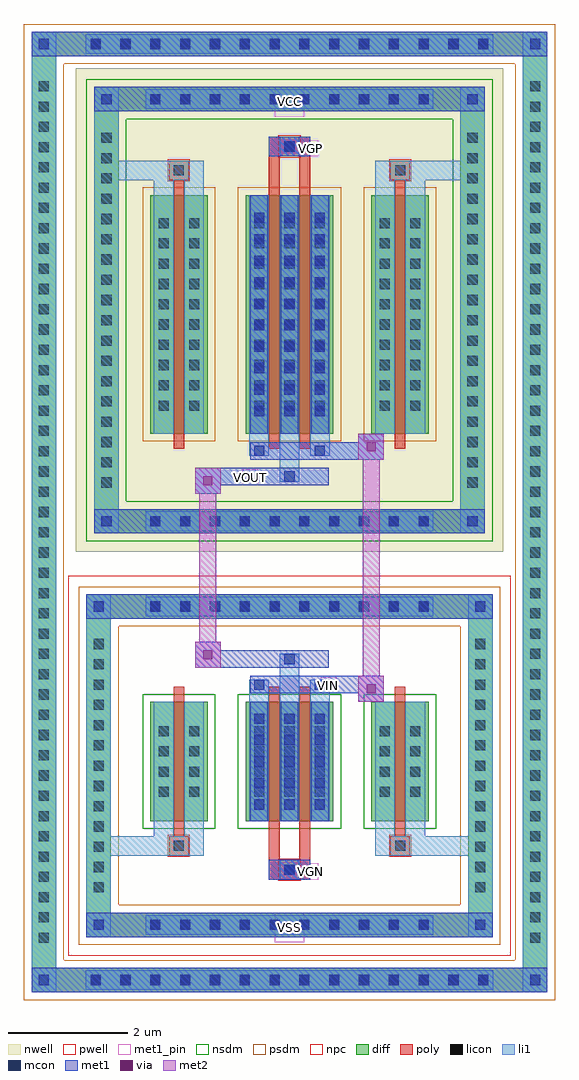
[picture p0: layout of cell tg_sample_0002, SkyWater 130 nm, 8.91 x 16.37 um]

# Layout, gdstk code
import gdstk
lib = gdstk.Library(unit=1e-6, precision=5e-09)
def R(c, l, rs):  # rectangles x0, y0, x1, y1
    for r in rs: c.add(gdstk.rectangle(r[:2], r[2:], *l))
def A(c, l, x, y, w, h, nx, ny, dx, dy):  # array of equal rectangles
    R(c, l, [(x+i*dx, y+j*dy, x+i*dx+w, y+j*dy+h) for i in range(nx) for j in range(ny)])
def P(c, l, *ps):  # polygons
    for p in ps: c.add(gdstk.Polygon(p, *l))
nwell = (64, 20)
pwell = (64, 44)
diff = (65, 20)
poly = (66, 20)
licon = (66, 44)
li1 = (67, 20)
mcon = (67, 44)
met1_pin = (68, 16)
met1 = (68, 20)
via = (68, 44)
met2 = (69, 20)
nsdm = (93, 44)
psdm = (94, 20)
npc = (95, 20)

tg_sample_0002 = lib.new_cell('tg_sample_0002')
R(tg_sample_0002, nwell, [(-3.585,3.585,3.585,11.695)])
R(tg_sample_0002, pwell, [(-3.715,-3.185,3.715,3.185)])
A(tg_sample_0002, diff, -3.455, -3.8, 0.41, 0.41, 14, 2, 0.5, 15.7)
A(tg_sample_0002, diff, -4.325, -3.09, 0.41, 0.41, 1, 43, 0, 0.34)
A(tg_sample_0002, diff, 3.915, -3.09, 0.41, 0.41, 1, 43, 0, 0.34)
A(tg_sample_0002, diff, -2.455, -2.875, 0.41, 0.41, 10, 2, 0.5, 5.34)
A(tg_sample_0002, diff, -3.405, -2.245, 0.41, 0.41, 1, 13, 0, 0.34)
A(tg_sample_0002, diff, 2.995, -2.245, 0.41, 0.41, 1, 13, 0, 0.34)
A(tg_sample_0002, diff, -2.455, 3.895, 0.41, 0.41, 10, 2, 0.5, 7.08)
A(tg_sample_0002, diff, -3.275, 4.545, 0.41, 0.41, 1, 18, 0, 0.34)
A(tg_sample_0002, diff, 2.865, 4.545, 0.41, 0.41, 1, 18, 0, 0.34)
R(tg_sample_0002, diff, [(-3.455,-3.8,3.455,-3.39), (-4.325,-3.09,-3.915,11.6), (3.915,-3.09,4.325,11.6), (-2.455,-2.875,2.455,-2.465), (-3.405,-2.245,-2.995,2.245), (2.995,-2.245,3.405,2.245), (-2.335,-0.93,-1.375,1.07), (-0.735,-0.93,0.735,1.07), (1.375,-0.93,2.335,1.07), (-2.455,2.465,2.455,2.875), (-2.455,3.895,2.455,4.305), (-3.275,4.545,-2.865,10.735), (2.865,4.545,3.275,10.735), (-2.335,5.57,-1.375,9.57), (-0.735,5.57,0.735,9.57), (1.375,5.57,2.335,9.57), (-2.455,10.975,2.455,11.385), (-3.455,11.9,3.455,12.31)])
P(tg_sample_0002, diff, [(3.405,2.875),(-3.405,2.875),(-3.405,-2.465),(-2.995,-2.465),(-2.995,2.465),(2.995,2.465),(2.995,-2.465),(-2.995,-2.465),(-3.405,-2.465),(-3.405,-2.875),(3.405,-2.875)],
  [(4.325,12.31),(-4.325,12.31),(-4.325,-3.39),(-3.915,-3.39),(-3.915,11.9),(3.915,11.9),(3.915,-3.39),(-3.915,-3.39),(-4.325,-3.39),(-4.325,-3.8),(4.325,-3.8)],
  [(3.275,3.895),(-3.275,3.895),(-3.275,10.975),(-2.865,10.975),(-2.865,4.305),(2.865,4.305),(2.865,10.975),(-2.865,10.975),(-3.275,10.975),(-3.275,11.385),(3.275,11.385)])
R(tg_sample_0002, poly, [(-0.345,-1.91,0.345,-1.58), (-0.165,-1.91,0.165,-1.58), (-0.345,-1.58,-0.165,-1.18), (0.165,-1.58,0.345,-1.18), (-2.02,-1.51,-1.69,-1.18), (-2.02,-1.51,-1.69,-1.18), (1.69,-1.51,2.02,-1.18), (1.69,-1.51,2.02,-1.18), (-1.945,-1.18,-1.765,1.32), (-0.345,-1.18,-0.165,1.32), (0.165,-1.18,0.345,1.32), (1.765,-1.18,1.945,1.32), (-1.945,5.32,-1.765,9.82), (-0.345,5.32,-0.165,9.82), (0.165,5.32,0.345,9.82), (1.765,5.32,1.945,9.82), (-2.02,9.82,-1.69,10.15), (-2.02,9.82,-1.69,10.15), (-0.345,9.82,-0.165,10.22), (0.165,9.82,0.345,10.22), (1.69,9.82,2.02,10.15), (1.69,9.82,2.02,10.15), (-0.345,10.22,0.345,10.55), (-0.165,10.22,0.165,10.55)])
A(tg_sample_0002, licon, -3.335, -3.68, 0.17, 0.17, 14, 2, 0.5, 15.7)
A(tg_sample_0002, licon, -4.205, -2.97, 0.17, 0.17, 1, 43, 0, 0.34)
A(tg_sample_0002, licon, 4.035, -2.97, 0.17, 0.17, 1, 43, 0, 0.34)
A(tg_sample_0002, licon, -2.335, -2.755, 0.17, 0.17, 10, 2, 0.5, 5.34)
A(tg_sample_0002, licon, -3.285, -2.125, 0.17, 0.17, 1, 13, 0, 0.34)
A(tg_sample_0002, licon, 3.115, -2.125, 0.17, 0.17, 1, 13, 0, 0.34)
A(tg_sample_0002, licon, -2.195, -0.525, 0.17, 0.17, 1, 4, 0, 0.34)
A(tg_sample_0002, licon, -1.685, -0.525, 0.17, 0.17, 1, 4, 0, 0.34)
A(tg_sample_0002, licon, -0.595, -0.525, 0.17, 0.17, 3, 4, 0.51, 0.34)
A(tg_sample_0002, licon, 1.515, -0.525, 0.17, 0.17, 1, 4, 0, 0.34)
A(tg_sample_0002, licon, 2.025, -0.525, 0.17, 0.17, 1, 4, 0, 0.34)
A(tg_sample_0002, licon, -2.335, 4.015, 0.17, 0.17, 10, 2, 0.5, 7.08)
A(tg_sample_0002, licon, -3.155, 4.665, 0.17, 0.17, 1, 18, 0, 0.34)
A(tg_sample_0002, licon, 2.985, 4.665, 0.17, 0.17, 1, 18, 0, 0.34)
A(tg_sample_0002, licon, -2.195, 5.955, 0.17, 0.17, 1, 10, 0, 0.34)
A(tg_sample_0002, licon, -1.685, 5.955, 0.17, 0.17, 1, 10, 0, 0.34)
A(tg_sample_0002, licon, -0.595, 5.955, 0.17, 0.17, 3, 10, 0.51, 0.34)
A(tg_sample_0002, licon, 1.515, 5.955, 0.17, 0.17, 1, 10, 0, 0.34)
A(tg_sample_0002, licon, 2.025, 5.955, 0.17, 0.17, 1, 10, 0, 0.34)
R(tg_sample_0002, licon, [(-0.085,-1.83,0.085,-1.66), (-1.94,-1.43,-1.77,-1.26), (1.77,-1.43,1.94,-1.26), (-1.94,9.9,-1.77,10.07), (1.77,9.9,1.94,10.07), (-0.085,10.3,0.085,10.47)])
A(tg_sample_0002, li1, -3.415, -3.76, 0.33, 0.33, 14, 2, 0.5, 15.7)
A(tg_sample_0002, li1, -4.285, -3.05, 0.33, 0.33, 1, 43, 0, 0.34)
A(tg_sample_0002, li1, 3.955, -3.05, 0.33, 0.33, 1, 43, 0, 0.34)
A(tg_sample_0002, li1, -2.415, -2.835, 0.33, 0.33, 10, 2, 0.5, 5.34)
A(tg_sample_0002, li1, -3.365, -2.205, 0.33, 0.33, 1, 13, 0, 0.34)
A(tg_sample_0002, li1, 3.035, -2.205, 0.33, 0.33, 1, 13, 0, 0.34)
A(tg_sample_0002, li1, -0.675, -0.93, 0.33, 2, 3, 1, 0.51, 0)
A(tg_sample_0002, li1, -0.595, -0.735, 0.17, 0.17, 3, 5, 0.51, 0.36)
A(tg_sample_0002, li1, -0.595, -0.735, 0.17, 1.61, 3, 1, 0.51, 0)
A(tg_sample_0002, li1, -2.275, -0.605, 0.33, 0.33, 1, 4, 0, 0.34)
A(tg_sample_0002, li1, -1.765, -0.605, 0.33, 0.33, 1, 4, 0, 0.34)
A(tg_sample_0002, li1, -0.675, -0.605, 0.33, 0.33, 3, 4, 0.51, 0.34)
A(tg_sample_0002, li1, 1.435, -0.605, 0.33, 0.33, 1, 4, 0, 0.34)
A(tg_sample_0002, li1, 1.945, -0.605, 0.33, 0.33, 1, 4, 0, 0.34)
A(tg_sample_0002, li1, -2.415, 3.935, 0.33, 0.33, 10, 2, 0.5, 7.08)
A(tg_sample_0002, li1, -3.235, 4.585, 0.33, 0.33, 1, 18, 0, 0.34)
A(tg_sample_0002, li1, 2.905, 4.585, 0.33, 0.33, 1, 18, 0, 0.34)
A(tg_sample_0002, li1, -0.675, 5.57, 0.33, 4, 3, 1, 0.51, 0)
A(tg_sample_0002, li1, -0.595, 5.865, 0.17, 0.17, 3, 10, 0.51, 0.36)
A(tg_sample_0002, li1, -0.595, 5.865, 0.17, 3.41, 3, 1, 0.51, 0)
A(tg_sample_0002, li1, -2.275, 5.875, 0.33, 0.33, 1, 10, 0, 0.34)
A(tg_sample_0002, li1, -1.765, 5.875, 0.33, 0.33, 1, 10, 0, 0.34)
A(tg_sample_0002, li1, -0.675, 5.875, 0.33, 0.33, 3, 10, 0.51, 0.34)
A(tg_sample_0002, li1, 1.435, 5.875, 0.33, 0.33, 1, 10, 0, 0.34)
A(tg_sample_0002, li1, 1.945, 5.875, 0.33, 0.33, 1, 10, 0, 0.34)
R(tg_sample_0002, li1, [(-4.325,-3.8,-3.915,-3.39), (3.915,-3.8,4.325,-3.39), (-3.415,-3.76,3.415,-3.43), (-4.205,-3.68,-4.035,-3.51), (-4.205,-3.68,-4.035,-3.51), (4.035,-3.68,4.205,-3.51), (4.035,-3.68,4.205,-3.51), (-4.325,-3.39,-3.915,11.9), (3.915,-3.39,4.325,11.9), (-3.405,-2.875,-2.995,-2.465), (2.995,-2.875,3.405,-2.465), (-2.415,-2.835,2.415,-2.505), (-3.285,-2.755,-3.115,-2.585), (-3.285,-2.755,-3.115,-2.585), (3.115,-2.755,3.285,-2.585), (3.115,-2.755,3.285,-2.585), (-3.405,-2.465,-2.995,2.465), (2.995,-2.465,3.405,2.465), (-0.165,-1.91,0.165,-1.58), (-3.405,-1.51,-2.02,-1.18), (-2.275,-1.51,-2.02,-1.18), (-2.275,-1.51,-1.945,-0.93), (-2.02,-1.51,-1.69,-1.18), (-1.765,-1.51,-1.435,-0.93), (-1.69,-1.51,-1.435,-1.18), (1.435,-1.51,1.69,-1.18), (1.435,-1.51,1.765,-0.93), (1.69,-1.51,2.02,-1.18), (1.69,-1.51,3.405,-1.18), (1.945,-1.51,2.275,-0.93), (2.02,-1.51,2.275,-1.18), (-2.275,-0.93,-1.945,1.07), (-1.765,-0.93,-1.435,1.07), (1.435,-0.93,1.765,1.07), (1.945,-0.93,2.275,1.07), (-0.675,1.07,-0.345,1.445), (-0.165,1.07,0.165,1.875), (0.345,1.07,0.675,1.445), (-0.595,1.275,-0.425,1.445), (0.425,1.275,0.595,1.445), (-0.085,1.705,0.085,1.875), (-3.405,2.465,-2.995,2.875), (2.995,2.465,3.405,2.875), (-2.415,2.505,2.415,2.835), (-3.285,2.585,-3.115,2.755), (-3.285,2.585,-3.115,2.755), (3.115,2.585,3.285,2.755), (3.115,2.585,3.285,2.755), (-3.275,3.895,-2.865,4.305), (2.865,3.895,3.275,4.305), (-2.415,3.935,2.415,4.265), (-3.155,4.015,-2.985,4.185), (-3.155,4.015,-2.985,4.185), (2.985,4.015,3.155,4.185), (2.985,4.015,3.155,4.185), (-3.275,4.305,-2.865,10.975), (2.865,4.305,3.275,10.975), (-0.165,4.765,0.165,5.57), (-0.085,4.765,0.085,4.935), (-0.675,5.195,-0.345,5.57), (-0.595,5.195,-0.425,5.365), (0.345,5.195,0.675,5.57), (0.425,5.195,0.595,5.365), (-2.275,5.57,-1.945,9.57), (-1.765,5.57,-1.435,9.57), (1.435,5.57,1.765,9.57), (1.945,5.57,2.275,9.57), (-2.275,9.57,-1.945,10.15), (-1.765,9.57,-1.435,10.15), (1.435,9.57,1.765,10.15), (1.945,9.57,2.275,10.15), (-3.275,9.82,-2.02,10.15), (-2.275,9.82,-2.02,10.15), (-2.02,9.82,-1.69,10.15), (-1.69,9.82,-1.435,10.15), (1.435,9.82,1.69,10.15), (1.69,9.82,2.02,10.15), (1.69,9.82,3.275,10.15), (2.02,9.82,2.275,10.15), (-0.165,10.22,0.165,10.55), (-3.275,10.975,-2.865,11.385), (2.865,10.975,3.275,11.385), (-2.415,11.015,2.415,11.345), (-3.155,11.095,-2.985,11.265), (-3.155,11.095,-2.985,11.265), (2.985,11.095,3.155,11.265), (2.985,11.095,3.155,11.265), (-4.325,11.9,-3.915,12.31), (3.915,11.9,4.325,12.31), (-3.415,11.94,3.415,12.27), (-4.205,12.02,-4.035,12.19), (-4.205,12.02,-4.035,12.19), (4.035,12.02,4.205,12.19), (4.035,12.02,4.205,12.19)])
A(tg_sample_0002, mcon, -3.335, -3.68, 0.17, 0.17, 14, 2, 0.5, 15.7)
A(tg_sample_0002, mcon, -2.335, -2.755, 0.17, 0.17, 10, 2, 0.5, 5.34)
A(tg_sample_0002, mcon, -0.595, -0.735, 0.17, 0.17, 3, 5, 0.51, 0.36)
A(tg_sample_0002, mcon, -2.335, 4.015, 0.17, 0.17, 10, 2, 0.5, 7.08)
A(tg_sample_0002, mcon, -0.595, 5.865, 0.17, 0.17, 3, 10, 0.51, 0.36)
R(tg_sample_0002, mcon, [(-4.205,-3.68,-4.035,-3.51), (4.035,-3.68,4.205,-3.51), (-3.285,-2.755,-3.115,-2.585), (3.115,-2.755,3.285,-2.585), (-0.085,-1.83,0.085,-1.66), (-0.595,1.275,-0.425,1.445), (0.425,1.275,0.595,1.445), (-0.085,1.705,0.085,1.875), (-3.285,2.585,-3.115,2.755), (3.115,2.585,3.285,2.755), (-3.155,4.015,-2.985,4.185), (2.985,4.015,3.155,4.185), (-0.085,4.765,0.085,4.935), (-0.595,5.195,-0.425,5.365), (0.425,5.195,0.595,5.365), (-0.085,10.3,0.085,10.47), (-3.155,11.095,-2.985,11.265), (2.985,11.095,3.155,11.265), (-4.205,12.02,-4.035,12.19), (4.035,12.02,4.205,12.19)])
R(tg_sample_0002, met1_pin, [(-0.25,-2.965,0.25,-2.465), (0.21,-1.91,0.48,-1.64), (0.52,1.215,0.79,1.485), (-0.79,4.705,-0.52,4.975), (0.21,10.22,0.48,10.49), (-0.25,10.885,0.25,11.385)])
A(tg_sample_0002, met1, -3.395, -3.74, 0.29, 0.29, 14, 2, 0.5, 15.7)
A(tg_sample_0002, met1, -2.395, -2.815, 0.29, 0.29, 10, 2, 0.5, 5.34)
A(tg_sample_0002, met1, -0.655, -0.93, 0.29, 2, 3, 1, 0.51, 0)
A(tg_sample_0002, met1, -0.655, -0.795, 0.29, 0.29, 3, 5, 0.51, 0.36)
A(tg_sample_0002, met1, -2.395, 3.955, 0.29, 0.29, 10, 2, 0.5, 7.08)
A(tg_sample_0002, met1, -0.655, 5.57, 0.29, 4, 3, 1, 0.51, 0)
A(tg_sample_0002, met1, -0.655, 5.805, 0.29, 0.29, 3, 10, 0.51, 0.36)
R(tg_sample_0002, met1, [(-4.325,-3.8,-3.915,-3.39), (-4.325,-3.8,-3.915,-3.39), (-3.915,-3.8,3.915,-3.39), (3.915,-3.8,4.325,-3.39), (3.915,-3.8,4.325,-3.39), (-4.265,-3.74,-3.975,-3.45), (3.975,-3.74,4.265,-3.45), (-3.405,-2.875,-2.995,-2.465), (-3.405,-2.875,-2.995,-2.465), (-2.995,-2.875,2.995,-2.465), (2.995,-2.875,3.405,-2.465), (2.995,-2.875,3.405,-2.465), (-3.345,-2.815,-3.055,-2.525), (3.055,-2.815,3.345,-2.525), (-0.345,-1.91,0.345,-1.58), (-0.145,-1.89,0.145,-1.6), (1.155,1.075,1.585,1.505), (-0.655,1.215,-0.365,1.505), (-0.655,1.215,0.655,1.505), (0.365,1.215,0.655,1.505), (0.655,1.215,1.585,1.505), (-1.585,1.645,-0.655,1.935), (-1.585,1.645,-1.155,2.075), (-0.655,1.645,0.655,1.935), (-0.145,1.645,0.145,1.935), (-3.405,2.465,-2.995,2.875), (-3.405,2.465,-2.995,2.875), (-2.995,2.465,2.995,2.875), (2.995,2.465,3.405,2.875), (2.995,2.465,3.405,2.875), (-3.345,2.525,-3.055,2.815), (3.055,2.525,3.345,2.815), (-3.275,3.895,-2.865,4.305), (-3.275,3.895,-2.865,4.305), (-2.865,3.895,2.865,4.305), (2.865,3.895,3.275,4.305), (2.865,3.895,3.275,4.305), (-3.215,3.955,-2.925,4.245), (2.925,3.955,3.215,4.245), (-1.585,4.565,-1.155,4.995), (-1.585,4.705,-0.655,4.995), (-0.655,4.705,0.655,4.995), (-0.145,4.705,0.145,4.995), (-0.655,5.135,-0.365,5.425), (-0.655,5.135,0.655,5.425), (0.365,5.135,0.655,5.425), (0.655,5.135,1.585,5.425), (1.155,5.135,1.585,5.565), (-0.345,10.22,0.345,10.55), (-0.145,10.24,0.145,10.53), (-3.275,10.975,-2.865,11.385), (-3.275,10.975,-2.865,11.385), (-2.865,10.975,2.865,11.385), (2.865,10.975,3.275,11.385), (2.865,10.975,3.275,11.385), (-3.215,11.035,-2.925,11.325), (2.925,11.035,3.215,11.325), (-4.325,11.9,-3.915,12.31), (-4.325,11.9,-3.915,12.31), (-3.915,11.9,3.915,12.31), (3.915,11.9,4.325,12.31), (3.915,11.9,4.325,12.31), (-4.265,11.96,-3.975,12.25), (3.975,11.96,4.265,12.25)])
R(tg_sample_0002, via, [(1.295,1.215,1.445,1.365), (-1.445,1.785,-1.295,1.935), (-1.445,4.705,-1.295,4.855), (1.295,5.275,1.445,5.425)])
R(tg_sample_0002, met2, [(1.155,1.075,1.585,1.505), (1.225,1.075,1.515,5.565), (1.515,1.075,1.585,1.505), (1.205,1.125,1.535,1.455), (-1.585,1.645,-1.155,2.075), (-1.515,1.645,-1.225,4.995), (-1.225,1.645,-1.155,2.075), (-1.535,1.695,-1.205,2.025), (-1.585,4.565,-1.155,4.995), (-1.225,4.565,-1.155,4.995), (-1.535,4.615,-1.205,4.945), (1.155,5.135,1.585,5.565), (1.515,5.135,1.585,5.565), (1.205,5.185,1.535,5.515)])
R(tg_sample_0002, nsdm, [(-2.465,-1.06,-1.245,1.2), (-0.865,-1.06,0.865,1.2), (1.245,-1.06,2.465,1.2)])
P(tg_sample_0002, nsdm, [(3.405,3.765),(-3.405,3.765),(-3.405,10.845),(-2.735,10.845),(-2.735,4.435),(2.735,4.435),(2.735,10.845),(-2.735,10.845),(-3.405,10.845),(-3.405,11.515),(3.405,11.515)])
R(tg_sample_0002, psdm, [(-2.465,5.44,-1.245,9.7), (-0.865,5.44,0.865,9.7), (1.245,5.44,2.465,9.7)])
P(tg_sample_0002, psdm, [(3.535,3.005),(-3.535,3.005),(-3.535,-2.335),(-2.865,-2.335),(-2.865,2.335),(2.865,2.335),(2.865,-2.335),(-2.865,-2.335),(-3.535,-2.335),(-3.535,-3.005),(3.535,-3.005)],
  [(4.455,12.44),(-4.455,12.44),(-4.455,-3.26),(-3.785,-3.26),(-3.785,11.77),(3.785,11.77),(3.785,-3.26),(-3.785,-3.26),(-4.455,-3.26),(-4.455,-3.93),(4.455,-3.93)])
R(tg_sample_0002, npc, [(-0.185,-1.93,0.185,-1.56), (-2.04,-1.53,-1.67,-1.16), (1.67,-1.53,2.04,-1.16), (-2.04,9.8,-1.67,10.17), (1.67,9.8,2.04,10.17), (-0.185,10.2,0.185,10.57)])
tg_sample_0002.add(gdstk.Label('VIN', (0.655,1.35), layer=68, texttype=5))
tg_sample_0002.add(gdstk.Label('VGN', (0.345,-1.775), layer=68, texttype=5))
tg_sample_0002.add(gdstk.Label('VGP', (0.345,10.355), layer=68, texttype=5))
tg_sample_0002.add(gdstk.Label('VSS', (0,-2.715), layer=68, texttype=5))
tg_sample_0002.add(gdstk.Label('VCC', (0,11.135), layer=68, texttype=5))
tg_sample_0002.add(gdstk.Label('VOUT', (-0.655,4.84), layer=68, texttype=5))

lib.write_gds('tg_sample_0002.gds')
